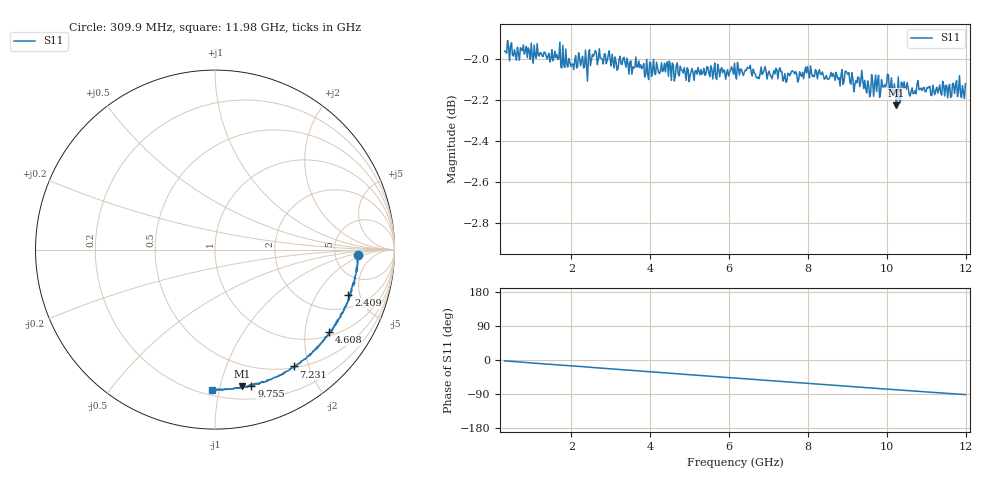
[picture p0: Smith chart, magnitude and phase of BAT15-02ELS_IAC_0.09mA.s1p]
! Infineon Technologies  Discrete & RF Semiconductors
! BAT15-02ELS
! IAC = 0.09 mA
! One-Port S-Parameters
# Hz  S  MA  R  50
!f  S11
!Hz  Mag  Ang
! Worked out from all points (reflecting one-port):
!   468 points, 309.9 MHz to 11.98 GHz, reference 50 ohm
!   lowest |S11| = -2.2 dB at 10.23 GHz (marker M1), VSWR 7.84, Z = 15.4 - j58.4 ohm
!   phase of S11 starts at -2 deg and turns -89 deg over the sweep
!   S11 on the Smith chart (normalised r, x): 309.9 MHz: 8.63, -1.47; 2.409 GHz: 2.97, -3.89; 4.608 GHz: 1.12, -2.67; 7.231 GHz: 0.52, -1.77; 9.755 GHz: 0.32, -1.25; 11.98 GHz: 0.23, -0.95
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3.0985e8  0.7977 -2.2
4.347875e8  0.7934 -3.2
5.59725e8  0.7984 -4.1
1.10945e9  0.7945 -8.6
1.659175e9  0.794 -12.9
1.784112e9  0.8003 -13.8
2.4088e9  0.7844 -18.7
2.583712e9  0.7965 -20.0
3.233388e9  0.7954 -24.9
4.032988e9  0.7865 -31.3
4.6077e9  0.7845 -35.8
4.70765e9  0.7875 -36.6
5.482262e9  0.7878 -42.6
6.156925e9  0.7873 -47.7
7.231388e9  0.7855 -55.9
7.4063e9  0.7877 -57.3
7.6062e9  0.789 -58.7
8.230888e9  0.7854 -63.7
9.080462e9  0.7831 -70.0
9.755125e9  0.7846 -75.0
1.005498e10  0.7803 -77.4
1.022989e10  0.7739 -78.8
1.052974e10  0.7816 -80.8
1.145428e10  0.7779 -87.7
1.157921e10  0.783 -88.4
1.177911e10  0.7777 -90.1
1.190405e10  0.7825 -90.8
1.197901e10  0.7833 -91.3
